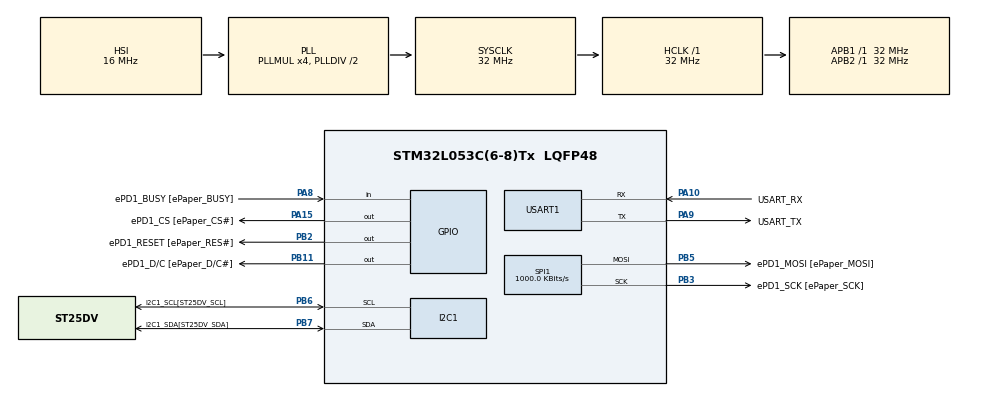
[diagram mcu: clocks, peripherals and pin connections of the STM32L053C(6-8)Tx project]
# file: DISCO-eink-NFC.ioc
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I2C1.OwnAddress=0x53
I2C1.Timing=0x00707CBB
Mcu.Family=STM32L0
Mcu.Name=STM32L053C(6-8)Tx
Mcu.Package=LQFP48
NVIC.I2C1_IRQn=true\:0\:0\:false\:false\:true\:true\:true\:true
PA0.Mode=SYS_WakeUp0
PA0.Signal=SYS_WKUP1
PA10.GPIO_Label=USART_RX
PA10.Mode=Asynchronous
PA10.Signal=USART1_RX
PA13.GPIO_Label=SWDIO
PA13.Mode=Serial_Wire
PA13.Signal=SYS_SWDIO
PA14.Mode=Serial_Wire
PA14.Signal=SYS_SWCLK
PA15.GPIO_Label=ePD1_CS [ePaper_CS\#]
PA15.PinState=GPIO_PIN_RESET
PA15.Signal=GPIO_Output
PA8.GPIO_Label=ePD1_BUSY [ePaper_BUSY]
PA8.GPIO_Mode=GPIO_MODE_INPUT
PA8.GPIO_PuPd=GPIO_PULLUP
PA8.Signal=GPIO_Input
PA9.GPIO_Label=USART_TX
PA9.Mode=Asynchronous
PA9.Signal=USART1_TX
PB11.GPIO_Label=ePD1_D/C [ePaper_D/C\#]
PB11.GPIO_ModeDefaultOutputPP=GPIO_MODE_OUTPUT_PP
PB11.GPIO_PuPd=GPIO_NOPULL
PB11.GPIO_Speed=GPIO_SPEED_FREQ_LOW
PB11.Signal=GPIO_Output
PB2.GPIO_Label=ePD1_RESET [ePaper_RES\#]
PB2.GPIO_ModeDefaultOutputPP=GPIO_MODE_OUTPUT_PP
PB2.GPIO_PuPd=GPIO_NOPULL
PB2.GPIO_Speed=GPIO_SPEED_FREQ_LOW
PB2.PinState=GPIO_PIN_RESET
PB2.Signal=GPIO_Output
PB3.GPIO_Label=ePD1_SCK [ePaper_SCK]
PB3.GPIO_Mode=GPIO_MODE_AF_PP
PB3.GPIO_PuPd=GPIO_NOPULL
PB3.GPIO_Speed=GPIO_SPEED_FREQ_LOW
PB3.Mode=TX_Only_Simplex_Unidirect_Master
PB3.Signal=SPI1_SCK
PB5.GPIO_Label=ePD1_MOSI [ePaper_MOSI]
PB5.GPIO_Mode=GPIO_MODE_AF_PP
PB5.GPIO_PuPd=GPIO_NOPULL
PB5.GPIO_Speed=GPIO_SPEED_FREQ_LOW
PB5.Mode=TX_Only_Simplex_Unidirect_Master
PB5.Signal=SPI1_MOSI
PB6.GPIO_Label=I2C1_SCL[ST25DV_SCL]
PB6.Mode=I2C
PB6.Signal=I2C1_SCL
PB7.GPIO_Label=I2C1_SDA[ST25DV_SDA]
PB7.Mode=I2C
PB7.Signal=I2C1_SDA
ProjectManager.HeapSize=0x200
ProjectManager.StackSize=0x200
ProjectManager.TargetToolchain=STM32CubeIDE
RCC.AHBFreq_Value=32000000
RCC.APB1Freq_Value=32000000
RCC.APB1TimFreq_Value=32000000
RCC.APB2Freq_Value=32000000
RCC.APB2TimFreq_Value=32000000
RCC.HCLKFreq_Value=32000000
RCC.HSE_VALUE=8000000
RCC.HSI16_VALUE=16000000
RCC.HSI48MClockSelection=RCC_USBCLKSOURCE_HSI48
RCC.HSI48_VALUE=48000000
RCC.HSI_VALUE=16000000
RCC.LSE_VALUE=32768
RCC.MSI_VALUE=2097000
RCC.PLLMUL=RCC_PLLMUL_4
RCC.RTCClockSelectionVirtual=RCC_RTCCLKSOURCE_LSE
RCC.SYSCLKFreq_VALUE=32000000
RCC.SYSCLKSource=RCC_SYSCLKSOURCE_PLLCLK
RCC.VCOOutputFreq_Value=64000000
SPI1.BaudRatePrescaler=SPI_BAUDRATEPRESCALER_32
SPI1.CalculateBaudRate=1000.0 KBits/s
SPI1.Direction=SPI_DIRECTION_2LINES
SPI1.Mode=SPI_MODE_MASTER
SPI1.VirtualType=VM_MASTER
USART1.VirtualMode-Asynchronous=VM_ASYNC
board=STM32L0538-DISCO

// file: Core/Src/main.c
/* USER CODE BEGIN Header */
/**
  ******************************************************************************
  * @file           : main.c
  * @brief          : Main program body
  ******************************************************************************
  * @attention
  *
  * Copyright (c) 2023 STMicroelectronics.
  * All rights reserved.
  *
  * This software is licensed under terms that can be found in the LICENSE file
  * in the root directory of this software component.
  * If no LICENSE file comes with this software, it is provided AS-IS.
  *
  ******************************************************************************
  */
/* USER CODE END Header */
#include "main.h"
#include "i2c.h"
#include "spi.h"
#include "usart.h"
#include "gpio.h"

/* USER CODE BEGIN Includes */
#include <string.h>
#include "eink_nfc.h"
#include "st25dv.h"
#include "EPD_2in13d.h"
#include "DEV_Config.h"
#include "GUI_Paint_new.h"
#include "imagedata.h"
#include <stdlib.h>
#include <stdio.h>
/* USER CODE END Includes */

/* USER CODE BEGIN PD */
//Logo picture 60x60 bitmap data
#define LOGO_MAX_LENGTH		480
#define Imagesize 			((EPD_WIDTH % 8 == 0)? (EPD_WIDTH / 8 ): (EPD_WIDTH / 8 + 1)) * EPD_HEIGHT
/* USER CODE END PD */

/* USER CODE BEGIN PV */
ST25DV_Object_t st25Obj={0};
EINK_NFC_TAGINFO_OBJ eink_nfc_taginfo={0};

uint8_t BlackImage[Imagesize]={0};

/* USER CODE END PV */

void SystemClock_Config(void);
/* USER CODE BEGIN PFP */
#ifdef __GNUC__
#define PUTCHAR_PROTOTYPE int __io_putchar(int ch)
#else
#define PUTCHAR_PROTOTYPE int fputc(int ch, FILE *f)
#endif

PUTCHAR_PROTOTYPE
{
  HAL_UART_Transmit(&huart1, (uint8_t *)&ch, 1, HAL_MAX_DELAY);
  return ch;
}
/* USER CODE END PFP */

int main(void)
{

  /* MCU Configuration--------------------------------------------------------*/

  /* Reset of all peripherals, Initializes the Flash interface and the Systick. */
  HAL_Init();

  /* Configure the system clock */
  SystemClock_Config();

  /* Initialize all configured peripherals */
  MX_GPIO_Init();
  MX_SPI1_Init();
  MX_USART1_UART_Init();
  MX_I2C1_Init();
  /* USER CODE BEGIN 2 */
  	// Initialization ST25DV
  	I2C1_Init_Reg();
	ST25DV_SetEH_MODE(&st25Obj.Ctx, ST25DV_EH_ACTIVE_AFTER_BOOT);
	ST25DV_EH_MODE_STATUS value_eh_mode;
	ST25DV_GetEH_MODE(&st25Obj.Ctx, &value_eh_mode);

	// GPO configuration
	ST25DV_SetGPO_ENABLE(&st25Obj.Ctx, 0);
	ST25DV_SetGPO_RFWRITE(&st25Obj.Ctx,0);
	//ST25DV_SetGPO_FIELDCHANGE(&st25Obj.Ctx, 0);
	ST25DV_SetGPO_RFUSERSTATE(&st25Obj.Ctx, 0);

	// Init EPD
	if(EPD_Init() != 0) {
		printf("e-Paper init failed\r\n");
	}

		// Clear EPD display
		// Init image buffer
		EPD_Clear();
		printf("size = %d\r\n", 	 EPD_WIDTH / 8 * EPD_HEIGHT);
		printf("Paint_NewImage\r\n");
		Paint_NewImage(BlackImage, EPD_WIDTH, EPD_HEIGHT, 270, WHITE);
		Paint_SelectImage(BlackImage);
		Paint_Clear(WHITE);
    	// Select image buffer
		Paint_SelectImage(BlackImage);
		//Clear buffer. Set 0xFF for every byte
		Paint_Clear(WHITE);

		// Reading data from st25dv
		uint8_t dataBuff[850]={0};
		ST25DV_ReadData(&st25Obj, dataBuff, 0, 850);
		// Parse data from st25dv to variables in struct
		EINK_NFC_Parser(&eink_nfc_taginfo, dataBuff);

		//Draw Logo
		Paint_DrawBitMap_Paste(eink_nfc_taginfo.logo_bitmap, 155, 1, 60, 60, BLACK);

		//Draw prices
		char strPrice[16];
		// Draw EUR price
		sprintf(strPrice,"EUR%s",eink_nfc_taginfo.priceEUR_txt);
		Paint_DrawString_EN(65, 0, 						 strPrice, &Font12, WHITE, BLACK);
		// Draw USD price
		sprintf(strPrice,"USD%s",eink_nfc_taginfo.priceUSD_txt);
		Paint_DrawString_EN(65, 5 + Font12.Height,		 strPrice, &Font12, WHITE, BLACK);
		// Draw PLN price
		sprintf(strPrice,"PLN%s",eink_nfc_taginfo.pricePLN_txt);
		Paint_DrawString_EN(65, (5 + Font12.Height)*2, 	 strPrice, &Font12, WHITE, BLACK);
		// Draw GPB price
		sprintf(strPrice,"GBP%s",eink_nfc_taginfo.priceGBP_txt);
		Paint_DrawString_EN(65, (5 + Font12.Height)*3, 	 strPrice, &Font12, WHITE, BLACK);

		// Draw washing images
		uint8_t position_x=25;
		Paint_DrawBitMap_Paste(eink_nfc_taginfo.washing_bitmap,		 position_x, 73, 35, 35, BLACK);
		position_x+=35;
		Paint_DrawBitMap_Paste(eink_nfc_taginfo.bleaching_bitmap, 	 position_x, 73, 35, 35, BLACK);
		position_x+=35;
		Paint_DrawBitMap_Paste(eink_nfc_taginfo.drying_bitmap, 		 position_x, 73, 35, 35, BLACK);
		position_x+=35;
		Paint_DrawBitMap_Paste(eink_nfc_taginfo.ironing_bitmap, 	 position_x, 73, 35, 35, BLACK);
		position_x+=35;
		Paint_DrawBitMap_Paste(eink_nfc_taginfo.professional_bitmap, position_x, 73, 35, 35, BLACK);

		// Generate QR code and draw
		Paint_DrawQR_Paste(eink_nfc_taginfo.QR_txt,0,0);
		//Rotate and Draw size
		char strSize[4];
		Paint_SetRotate(ROTATE_180);
		Paint_DrawString_EN(0, 0, 				 "size:", &Font8, WHITE, BLACK);
		sprintf(strSize,"%s",eink_nfc_taginfo.size_txt);
		Paint_DrawString_EN(0, Font8.Height, 	 strSize, &Font16, WHITE, BLACK);
		EPD_Display(BlackImage);
      printf("Goto Sleep mode...\r\n");
      // Enter EPD in sleep mode
      EPD_Sleep();
      // Enable STANDBY mode
      HAL_PWR_EnableWakeUpPin(PWR_WAKEUP_PIN1);
      __HAL_PWR_CLEAR_FLAG(PWR_FLAG_WU);

      HAL_PWR_EnterSTANDBYMode();

  /* USER CODE END 2 */

  /* Infinite loop */
  while (1)
  {

  }
}

void SystemClock_Config(void)
{
  RCC_OscInitTypeDef RCC_OscInitStruct = {0};
  RCC_ClkInitTypeDef RCC_ClkInitStruct = {0};
  RCC_PeriphCLKInitTypeDef PeriphClkInit = {0};

  /** Configure the main internal regulator output voltage
  */
  __HAL_PWR_VOLTAGESCALING_CONFIG(PWR_REGULATOR_VOLTAGE_SCALE1);

  /** Initializes the RCC Oscillators according to the specified parameters
  * in the RCC_OscInitTypeDef structure.
  */
  RCC_OscInitStruct.OscillatorType = RCC_OSCILLATORTYPE_HSI;
  RCC_OscInitStruct.HSIState = RCC_HSI_ON;
  RCC_OscInitStruct.HSICalibrationValue = RCC_HSICALIBRATION_DEFAULT;
  RCC_OscInitStruct.PLL.PLLState = RCC_PLL_ON;
  RCC_OscInitStruct.PLL.PLLSource = RCC_PLLSOURCE_HSI;
  RCC_OscInitStruct.PLL.PLLMUL = RCC_PLLMUL_4;
  RCC_OscInitStruct.PLL.PLLDIV = RCC_PLLDIV_2;
  if (HAL_RCC_OscConfig(&RCC_OscInitStruct) != HAL_OK)
  {
    Error_Handler();
  }

  /** Initializes the CPU, AHB and APB buses clocks
  */
  RCC_ClkInitStruct.ClockType = RCC_CLOCKTYPE_HCLK|RCC_CLOCKTYPE_SYSCLK
                              |RCC_CLOCKTYPE_PCLK1|RCC_CLOCKTYPE_PCLK2;
  RCC_ClkInitStruct.SYSCLKSource = RCC_SYSCLKSOURCE_PLLCLK;
  RCC_ClkInitStruct.AHBCLKDivider = RCC_SYSCLK_DIV1;
  RCC_ClkInitStruct.APB1CLKDivider = RCC_HCLK_DIV1;
  RCC_ClkInitStruct.APB2CLKDivider = RCC_HCLK_DIV1;

  if (HAL_RCC_ClockConfig(&RCC_ClkInitStruct, FLASH_LATENCY_1) != HAL_OK)
  {
    Error_Handler();
  }
  PeriphClkInit.PeriphClockSelection = RCC_PERIPHCLK_USART1|RCC_PERIPHCLK_I2C1;
  PeriphClkInit.Usart1ClockSelection = RCC_USART1CLKSOURCE_PCLK2;
  PeriphClkInit.I2c1ClockSelection = RCC_I2C1CLKSOURCE_PCLK1;
  if (HAL_RCCEx_PeriphCLKConfig(&PeriphClkInit) != HAL_OK)
  {
    Error_Handler();
  }
}

/* USER CODE BEGIN 4 */
void I2C1_Init_Reg(void){
	ST25DV_IO_t IO;

	 IO.Init         = (ST25DV_Init_Func) MX_I2C1_Init;
	 IO.DeInit       = (ST25DV_DeInit_Func)HAL_I2C_DeInit;
	 IO.IsReady      = (ST25DV_IsReady_Func)HAL_I2C_IsDeviceReady;
	 IO.Read         = (ST25DV_Read_Func)I2C1_ReadReg16;
	 IO.Write        = (ST25DV_Write_Func)I2C1_WriteReg16;
	 IO.GetTick      = (ST25DV_GetTick_Func)HAL_GetTick;
	ST25DV_RegisterBusIO(&st25Obj, &IO);

}
int32_t  I2C1_ReadReg16(uint16_t DevAddr, uint16_t Reg, uint8_t *pData, uint16_t Length)
{
  int32_t ret = 0;

  if (HAL_I2C_Mem_Read(&hi2c1, DevAddr, Reg, I2C_MEMADD_SIZE_16BIT, pData, Length, HAL_I2C_STATE_TIMEOUT) != HAL_OK)
  {
    if (HAL_I2C_GetError(&hi2c1) != HAL_I2C_ERROR_AF)
    {
      ret =  -102;
    }
    else
    {
      ret =  -4;
    }
  }
  return ret;
}
int32_t I2C1_WriteReg16(uint16_t DevAddr, uint16_t Reg, uint8_t *pData, uint16_t Length)
{
  int32_t ret = 0;

  if (HAL_I2C_Mem_Write(&hi2c1, DevAddr, Reg, I2C_MEMADD_SIZE_16BIT, pData, Length, HAL_I2C_STATE_TIMEOUT) != HAL_OK)
  {
    if (HAL_I2C_GetError(&hi2c1) == HAL_I2C_ERROR_AF)
    {
      ret = -102;
    }
    else
    {
      ret =  -4;
    }
  }
  return ret;
}
/* USER CODE END 4 */

void Error_Handler(void)
{
  __disable_irq();
  while (1)
  {
  }
}
